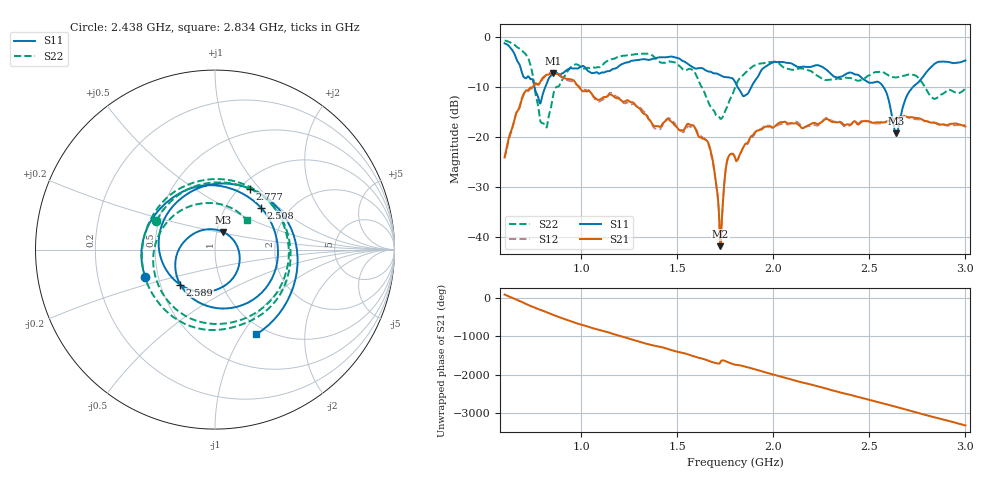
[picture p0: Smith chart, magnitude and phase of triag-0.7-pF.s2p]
#  HZ  S  RI  R  50.00
! Rohde & Schwarz ZVB8 2Ports - Version 2.81 - 1145.1010k08 SN: 100113
! Date: 2016-03-12 01:06:30
! Measurements: S11 S21 S12 S22
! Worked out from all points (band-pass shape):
!   1000 points, 600 MHz to 3 GHz, reference 50 ohm
!   highest |S21| = -7.23 dB at 852.3 MHz (marker M1); lowest = -41.8 dB at 1.724 GHz (marker M2)
!   |S21| within 3 dB of the highest: 731.9 MHz to 990.3 MHz (258.3 MHz wide, 30 % of centre)
!   lowest |S11| = -19.3 dB at 2.64 GHz (marker M3), VSWR 1.24, Z = 53.6 + j10.7 ohm
!   |S11| at or under -10 dB: 755.6 MHz to 812.5 MHz (56.9 MHz wide, 7.26 % of centre); 1.813 GHz to 1.886 GHz (73.46 MHz wide, 3.97 % of centre); 2.573 GHz to 2.728 GHz (155.1 MHz wide, 5.85 % of centre)
!   |S22| runs from -18.1 to -0.8 dB; largest |S21 - S12| = 0.019
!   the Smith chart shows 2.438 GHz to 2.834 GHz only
!   S11 on the Smith chart (normalised r, x): 2.438 GHz: 0.42, -0.15; 2.508 GHz: 1.45, +0.77; 2.589 GHz: 0.63, -0.27; 2.777 GHz: 1.11, +0.89; 2.834 GHz: 0.89, -1.16
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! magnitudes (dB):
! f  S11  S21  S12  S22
! 600 MHz  -1.3  -24.1  -24.3  -0.8
! 720.1 MHz  -8.0  -10.7  -10.9  -4.1
! 797 MHz  -11.7  -8.3  -8.6  -17.2
! 852.3 MHz  -7.2  -7.2  -7.0  -11.8
! 1.001 GHz  -5.9  -10.7  -10.4  -6.2
! 1.4 GHz  -4.1  -17.9  -18.4  -4.8
! 1.578 GHz  -6.0  -17.7  -17.9  -6.6
! 1.655 GHz  -6.8  -20.8  -21.0  -12.5
! 1.724 GHz  -7.7  -41.8  -41.7  -16.4
! 1.76 GHz  -8.1  -24.6  -24.5  -13.9
! 1.801 GHz  -9.1  -24.3  -24.4  -10.0
! 1.854 GHz  -11.7  -21.4  -21.5  -7.2
! 1.957 GHz  -6.0  -18.0  -17.7  -5.2
! 2.2 GHz  -6.0  -17.4  -17.7  -7.0
! 2.438 GHz  -7.6  -17.5  -17.3  -8.8
! 2.508 GHz  -9.2  -17.1  -17.2  -7.6
! 2.589 GHz  -11.2  -16.9  -17.0  -7.5
! 2.601 GHz  -12.8  -16.8  -16.8  -7.8
! 2.64 GHz  -19.3  -16.3  -16.2  -8.1
! 2.777 GHz  -8.1  -16.6  -16.7  -9.3
! 2.834 GHz  -5.6  -17.2  -17.1  -12.4
! 3 GHz  -4.7  -17.9  -17.7  -10.3
